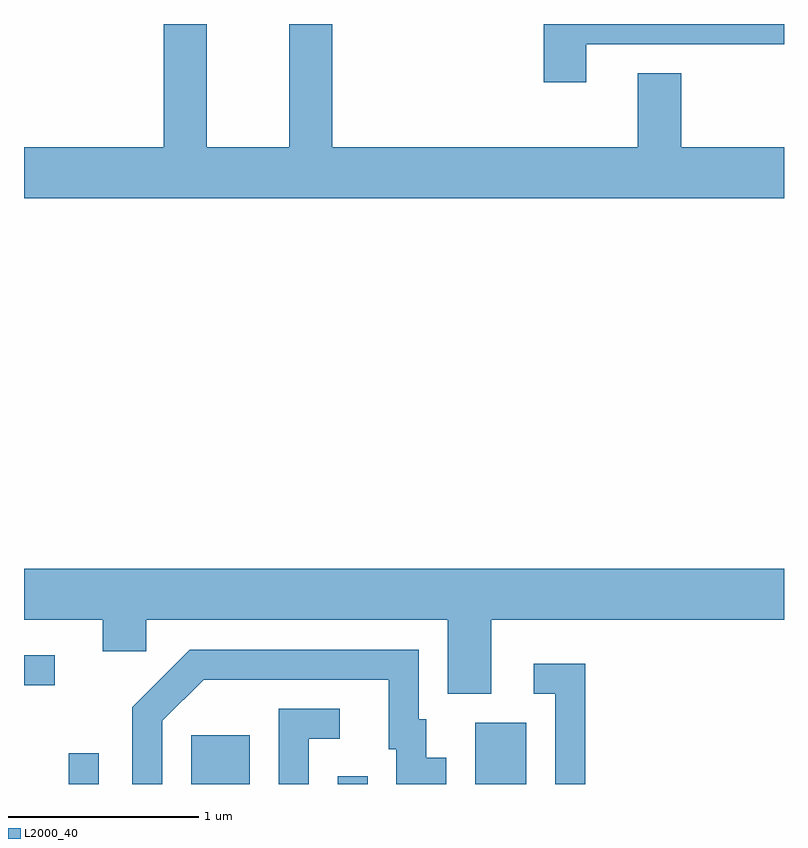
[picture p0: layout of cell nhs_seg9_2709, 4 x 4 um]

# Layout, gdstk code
import gdstk
lib = gdstk.Library(unit=1e-6, precision=1e-09)
def R(c, l, rs):  # rectangles x0, y0, x1, y1
    for r in rs: c.add(gdstk.rectangle(r[:2], r[2:], *l))
def P(c, l, *ps):  # polygons
    for p in ps: c.add(gdstk.Polygon(p, *l))
L2000_40 = (2000, 40)

nhs_seg9_2709 = lib.new_cell('nhs_seg9_2709')
R(nhs_seg9_2709, L2000_40, [(263.846,2066.432,264.004,2066.593), (264.491,2066.432,264.799,2066.689), (265.261,2066.432,265.419,2066.472), (265.986,2066.432,266.254,2066.754), (263.611,2066.951,263.773,2067.109)])
P(nhs_seg9_2709, L2000_40, [(267.611,2069.784),(267.069,2069.784),(267.069,2070.174),(266.841,2070.174),(266.841,2069.784),(265.234,2069.784),(265.234,2070.432),(265.006,2070.432),(265.006,2069.784),(264.574,2069.784),(264.574,2070.432),(264.346,2070.432),(264.346,2069.784),(263.611,2069.784),(263.611,2069.516),(267.611,2069.516)],
  [(266.569,2070.326),(267.611,2070.326),(267.611,2070.432),(266.346,2070.432),(266.346,2070.126),(266.569,2070.126)],
  [(266.069,2067.296),(267.611,2067.296),(267.611,2067.564),(263.611,2067.564),(263.611,2067.296),(264.026,2067.296),(264.026,2067.131),(264.254,2067.131),(264.254,2067.296),(265.841,2067.296),(265.841,2066.906),(266.069,2066.906)],
  [(264.339,2066.764),(264.557,2066.981),(265.531,2066.981),(265.531,2066.616),(265.571,2066.616),(265.571,2066.432),(265.834,2066.432),(265.834,2066.569),(265.729,2066.569),(265.729,2066.774),(265.689,2066.774),(265.689,2067.139),(264.484,2067.139),(264.181,2066.837),(264.181,2066.432),(264.339,2066.432)],
  [(266.564,2067.064),(266.293,2067.064),(266.293,2066.906),(266.406,2066.906),(266.406,2066.432),(266.564,2066.432)],
  [(265.109,2066.671),(265.273,2066.671),(265.273,2066.829),(264.951,2066.829),(264.951,2066.432),(265.109,2066.432)])

lib.write_gds('nhs_seg9_2709.gds')
